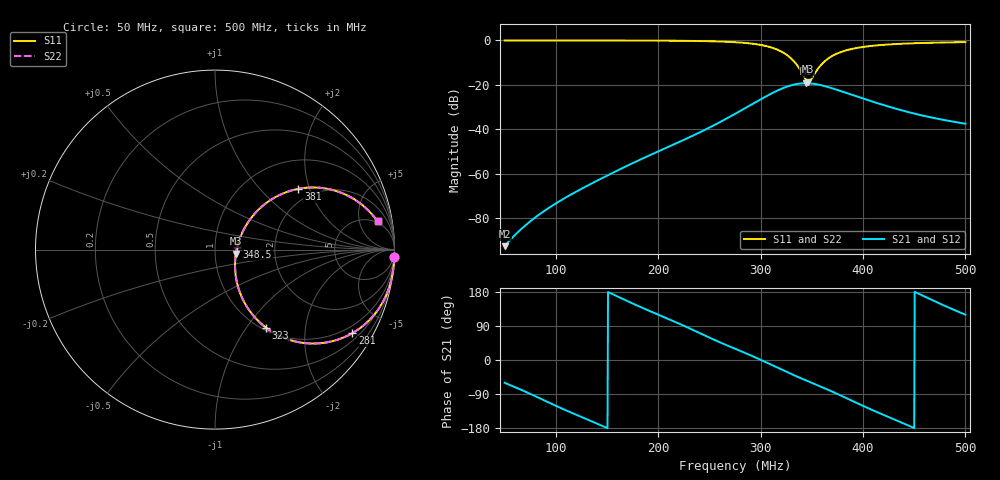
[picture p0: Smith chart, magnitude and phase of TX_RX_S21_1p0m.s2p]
! SYNTHETIC_DEVELOPMENT_INPUT - NOT VNA MEASUREMENT
! Tx-Rx separation = 1.000 m; free-space development fixture
! 50-500 MHz / 901 points / 0.5 MHz step / 50-ohm reference
# Hz S RI R 50
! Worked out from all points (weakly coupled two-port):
!   901 points, 50 MHz to 500 MHz, reference 50 ohm
!   highest |S21| = -19.23 dB at 344 MHz (marker M1); lowest = -92.4 dB at 50 MHz (marker M2)
!   lowest |S11| = -18.5 dB at 346.5 MHz (marker M3), VSWR 1.27, Z = 63.1 - j2.94 ohm
!   |S11| at or under -10 dB: 333.7 MHz to 361.1 MHz (27.35 MHz wide, 7.87 % of centre)
!   |S22| runs from -18.5 to 0.0 dB; largest |S21 - S12| = 0
!   S11 on the Smith chart (normalised r, x): 50 MHz: 0, -47; 281 MHz: 0.73, -3.42; 323 MHz: 1.04, -1.24; 348.5 MHz: 1.28, +0.04; 381 MHz: 1.67, +1.69; 500 MHz: 5, +9
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5e7  0.9991 -0.0422  1.19e-05 -2.07e-05  1.19e-05 -2.07e-05  0.9991 -0.0422
7.85e7  0.9976 -0.0679  -6.38e-06 -9.93e-05  -6.38e-06 -9.93e-05  0.9976 -0.0679
1.25e8  0.9925 -0.1157  -0.000401 -0.000231  -0.000401 -0.000231  0.9925 -0.1157
2e8  0.965 -0.2266  -0.0016 0.00279  -0.0016 0.00279  0.965 -0.2266
2.445e8  0.9073 -0.3367  0.00388 0.00869  0.00388 0.00869  0.9073 -0.3367
2.75e8  0.8001 -0.4435  0.0194 0.0111  0.0194 0.0111  0.8001 -0.4435
2.81e8  0.7647 -0.4659  0.0247 0.0105  0.0247 0.0105  0.7647 -0.4659
3.065e8  0.5203 -0.5226  0.0568 -0.00762  0.0568 -0.00762  0.5203 -0.5226
3.23e8  0.2835 -0.4345  0.0763 -0.0415  0.0763 -0.0415  0.2835 -0.4345
3.335e8  0.1565 -0.2804  0.0773 -0.068  0.0773 -0.068  0.1565 -0.2804
3.44e8  0.1119 -0.0731  0.065 -0.0878  0.065 -0.0878  0.1119 -0.0731
3.465e8  0.1165 -0.023  0.0604 -0.0907  0.0604 -0.0907  0.1165 -0.023
3.485e8  0.1242 0.0158  0.0564 -0.0923  0.0564 -0.0923  0.1242 0.0158
3.5e8  0.1322 0.044  0.0532 -0.0933  0.0532 -0.0933  0.1322 0.044
3.57e8  0.1892 0.1597  0.0375 -0.0939  0.0375 -0.0939  0.1892 0.1597
3.63e8  0.2554 0.2348  0.024 -0.0906  0.024 -0.0906  0.2554 0.2348
3.71e8  0.3515 0.3004  0.00769 -0.0823  0.00769 -0.0823  0.3515 0.3004
3.81e8  0.4649 0.3387  -0.00855 -0.0689  -0.00855 -0.0689  0.4649 0.3387
4.015e8  0.6399 0.336  -0.0262 -0.0405  -0.0262 -0.0405  0.6399 0.336
4.25e8  0.7593 0.2902  -0.0284 -0.0162  -0.0284 -0.0162  0.7593 0.2902
4.61e8  0.8542 0.2182  -0.0193 0.00462  -0.0193 0.00462  0.8542 0.2182
5e8  0.9055 0.1576  -0.00663 0.0117  -0.00663 0.0117  0.9055 0.1576
